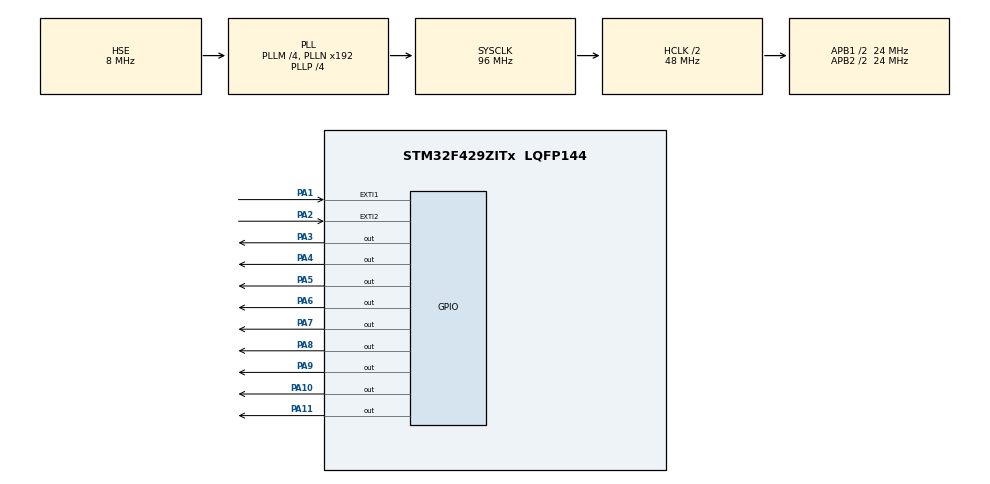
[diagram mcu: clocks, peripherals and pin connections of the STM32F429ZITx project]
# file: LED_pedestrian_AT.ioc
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Mcu.Family=STM32F4
Mcu.Name=STM32F429ZITx
Mcu.Package=LQFP144
NVIC.EXTI1_IRQn=true\:0\:0\:false\:true\:true\:2\:true\:true
NVIC.EXTI2_IRQn=true\:0\:0\:true\:true\:true\:4\:true\:true
NVIC.PriorityGroup=NVIC_PRIORITYGROUP_4
NVIC.TIM3_IRQn=true\:2\:0\:true\:true\:true\:1\:true\:true
NVIC.TIM4_IRQn=true\:1\:0\:true\:true\:true\:3\:true\:true
PA1.Signal=GPXTI1
PA10.GPIO_ModeDefaultOutputPP=GPIO_MODE_OUTPUT_PP
PA10.GPIO_PuPd=GPIO_NOPULL
PA10.GPIO_Speed=GPIO_SPEED_FREQ_LOW
PA10.PinState=GPIO_PIN_RESET
PA10.Signal=GPIO_Output
PA11.GPIO_Speed=GPIO_SPEED_FREQ_LOW
PA11.PinState=GPIO_PIN_RESET
PA11.Signal=GPIO_Output
PA13.Mode=Serial_Wire
PA13.Signal=SYS_JTMS-SWDIO
PA14.Mode=Serial_Wire
PA14.Signal=SYS_JTCK-SWCLK
PA2.GPIO_ModeDefaultEXTI=GPIO_MODE_IT_RISING
PA2.Signal=GPXTI2
PA3.GPIO_ModeDefaultOutputPP=GPIO_MODE_OUTPUT_PP
PA3.GPIO_PuPd=GPIO_NOPULL
PA3.GPIO_Speed=GPIO_SPEED_FREQ_LOW
PA3.PinState=GPIO_PIN_RESET
PA3.Signal=GPIO_Output
PA4.GPIO_ModeDefaultOutputPP=GPIO_MODE_OUTPUT_PP
PA4.GPIO_PuPd=GPIO_NOPULL
PA4.GPIO_Speed=GPIO_SPEED_FREQ_LOW
PA4.PinState=GPIO_PIN_RESET
PA4.Signal=GPIO_Output
PA5.GPIO_ModeDefaultOutputPP=GPIO_MODE_OUTPUT_PP
PA5.GPIO_PuPd=GPIO_NOPULL
PA5.GPIO_Speed=GPIO_SPEED_FREQ_LOW
PA5.PinState=GPIO_PIN_RESET
PA5.Signal=GPIO_Output
PA6.GPIO_ModeDefaultOutputPP=GPIO_MODE_OUTPUT_PP
PA6.GPIO_PuPd=GPIO_NOPULL
PA6.GPIO_Speed=GPIO_SPEED_FREQ_LOW
PA6.PinState=GPIO_PIN_RESET
PA6.Signal=GPIO_Output
PA7.GPIO_ModeDefaultOutputPP=GPIO_MODE_OUTPUT_PP
PA7.GPIO_PuPd=GPIO_NOPULL
PA7.GPIO_Speed=GPIO_SPEED_FREQ_LOW
PA7.PinState=GPIO_PIN_RESET
PA7.Signal=GPIO_Output
PA8.GPIO_ModeDefaultOutputPP=GPIO_MODE_OUTPUT_PP
PA8.GPIO_PuPd=GPIO_NOPULL
PA8.GPIO_Speed=GPIO_SPEED_FREQ_LOW
PA8.PinState=GPIO_PIN_RESET
PA8.Signal=GPIO_Output
PA9.GPIO_ModeDefaultOutputPP=GPIO_MODE_OUTPUT_PP
PA9.GPIO_PuPd=GPIO_NOPULL
PA9.GPIO_Speed=GPIO_SPEED_FREQ_LOW
PA9.PinState=GPIO_PIN_RESET
PA9.Signal=GPIO_Output
PH0/OSC_IN.Mode=HSE-External-Oscillator
PH0/OSC_IN.Signal=RCC_OSC_IN
PH1/OSC_OUT.Mode=HSE-External-Oscillator
PH1/OSC_OUT.Signal=RCC_OSC_OUT
ProjectManager.HeapSize=0x200
ProjectManager.StackSize=0x400
ProjectManager.TargetToolchain=MDK-ARM V5
RCC.48MHZClocksFreq_Value=96000000
RCC.AHBCLKDivider=RCC_SYSCLK_DIV2
RCC.AHBFreq_Value=48000000
RCC.APB1CLKDivider=RCC_HCLK_DIV2
RCC.APB1Freq_Value=24000000
RCC.APB1TimFreq_Value=48000000
RCC.APB2CLKDivider=RCC_HCLK_DIV2
RCC.APB2Freq_Value=24000000
RCC.APB2TimFreq_Value=48000000
RCC.CortexFreq_Value=48000000
RCC.HCLKFreq_Value=48000000
RCC.HSE_VALUE=8000000
RCC.HSI_VALUE=16000000
RCC.LSE_VALUE=32768
RCC.PLLM=4
RCC.PLLP=RCC_PLLP_DIV4
RCC.PLLSourceVirtual=RCC_PLLSOURCE_HSE
RCC.SYSCLKFreq_VALUE=96000000
RCC.SYSCLKSource=RCC_SYSCLKSOURCE_PLLCLK
RCC.VCOOutputFreq_Value=384000000
TIM3.Period=1000
TIM3.Prescaler=48000-1
TIM3.TIM_MasterOutputTrigger=TIM_TRGO_UPDATE
TIM4.Period=101
TIM4.Prescaler=48000-1
TIM4.TIM_MasterOutputTrigger=TIM_TRGO_UPDATE
VP_TIM3_VS_ClockSourceINT.Mode=Internal
VP_TIM4_VS_ClockSourceINT.Mode=Internal
board=custom

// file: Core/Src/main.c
/* USER CODE BEGIN Header */
/**
  ******************************************************************************
  * @file           : main.c
  * @brief          : Main program body
  ******************************************************************************
  * @attention
  *
  * <h2><center>&copy; Copyright (c) 2019 STMicroelectronics.
  * All rights reserved.</center></h2>
  *
  * This software component is licensed by ST under BSD 3-Clause license,
  * the "License"; You may not use this file except in compliance with the
  * License. You may obtain a copy of the License at:
  *                        opensource.org/licenses/BSD-3-Clause
  *
  ******************************************************************************
  */
/* USER CODE END Header */

#include "main.h"
#include "gfxsimulator.h"
#include "tim.h"
#include "gpio.h"

void SystemClock_Config(void);
static void MX_NVIC_Init(void);

/* USER CODE BEGIN 0 */
uint16_t delays[DELAYS_COUNT] = {1000,3000,5000,5000,101,30000}; //Array with a delay values

/*
	Special variable for delay function to execute the transition a5-a4-a3-a6
	volatile specificator tells the program that
	the variable value can be changed in another part of main program (e.g.interrupts)
	but the main cycle will know it
*/
volatile uint16_t walkTime;

volatile States state = a0;	//Current state
States nextState;	  //Next state

//A special checkers for each pushed/unpushed button in system
//
volatile uint8_t isButtonOnPushed;
volatile uint8_t isBtnPushed;
/* USER CODE END 0 */

int main(void)
{

  /* MCU Configuration--------------------------------------------------------*/

  /* Reset of all peripherals, Initializes the Flash interface and the Systick. */
  HAL_Init();

  /* Configure the system clock */
  SystemClock_Config();

  /* Initialize all configured peripherals */
  MX_GPIO_Init();
  MX_TIM3_Init();
  MX_TIM4_Init();
  MX_GFXSIMULATOR_Init();

  /* Initialize interrupts */
  MX_NVIC_Init();
  /* USER CODE BEGIN 2 */
	HAL_TIM_Base_Start_IT(&htim3); //Allow to start the transition function

  /* USER CODE END 2 */

  /* Infinite loop */
  while (1)
  {

    /* USER CODE BEGIN 3 */
		StateTransition(); //The function transition and outputs function working
  }
  /* USER CODE END 3 */
}

void SystemClock_Config(void)
{
  RCC_OscInitTypeDef RCC_OscInitStruct = {0};
  RCC_ClkInitTypeDef RCC_ClkInitStruct = {0};

  /** Configure the main internal regulator output voltage
  */
  __HAL_RCC_PWR_CLK_ENABLE();
  __HAL_PWR_VOLTAGESCALING_CONFIG(PWR_REGULATOR_VOLTAGE_SCALE3);
  /** Initializes the CPU, AHB and APB busses clocks
  */
  RCC_OscInitStruct.OscillatorType = RCC_OSCILLATORTYPE_HSE;
  RCC_OscInitStruct.HSEState = RCC_HSE_ON;
  RCC_OscInitStruct.PLL.PLLState = RCC_PLL_ON;
  RCC_OscInitStruct.PLL.PLLSource = RCC_PLLSOURCE_HSE;
  RCC_OscInitStruct.PLL.PLLM = 4;
  RCC_OscInitStruct.PLL.PLLN = 192;
  RCC_OscInitStruct.PLL.PLLP = RCC_PLLP_DIV4;
  RCC_OscInitStruct.PLL.PLLQ = 4;
  if (HAL_RCC_OscConfig(&RCC_OscInitStruct) != HAL_OK)
  {
    Error_Handler();
  }
  /** Initializes the CPU, AHB and APB busses clocks
  */
  RCC_ClkInitStruct.ClockType = RCC_CLOCKTYPE_HCLK|RCC_CLOCKTYPE_SYSCLK
                              |RCC_CLOCKTYPE_PCLK1|RCC_CLOCKTYPE_PCLK2;
  RCC_ClkInitStruct.SYSCLKSource = RCC_SYSCLKSOURCE_PLLCLK;
  RCC_ClkInitStruct.AHBCLKDivider = RCC_SYSCLK_DIV2;
  RCC_ClkInitStruct.APB1CLKDivider = RCC_HCLK_DIV2;
  RCC_ClkInitStruct.APB2CLKDivider = RCC_HCLK_DIV2;

  if (HAL_RCC_ClockConfig(&RCC_ClkInitStruct, FLASH_LATENCY_1) != HAL_OK)
  {
    Error_Handler();
  }
}

/**
  * @brief NVIC Configuration.
  * @retval None
	* CubeMx generated function for enable all the peripheral events/interrupts in project
  */
static void MX_NVIC_Init(void)
{
  /* TIM3_IRQn interrupt configuration */
  HAL_NVIC_SetPriority(TIM3_IRQn, 2, 0);
  HAL_NVIC_EnableIRQ(TIM3_IRQn);
  /* EXTI1_IRQn interrupt configuration */
  HAL_NVIC_SetPriority(EXTI1_IRQn, 0, 0);
  HAL_NVIC_EnableIRQ(EXTI1_IRQn);
  /* TIM4_IRQn interrupt configuration */
  HAL_NVIC_SetPriority(TIM4_IRQn, 1, 0);
  HAL_NVIC_EnableIRQ(TIM4_IRQn);
  /* EXTI2_IRQn interrupt configuration */
  HAL_NVIC_SetPriority(EXTI2_IRQn, 0, 0);
  HAL_NVIC_EnableIRQ(EXTI2_IRQn);
}

/* USER CODE BEGIN 4 */
void StateTransition()
{
	//Transitions function
	//
		switch(state)
	{
		case a0: 		 /*Block with transition description*/

			if(isButtonOnPushed == 0)	/*BUTTON_ON push/unpush checker*/
			{
				nextState = a0;
			}

			else
			{
				nextState = a1;
			}

		break;

		case a1:

			if(isButtonOnPushed == 0)
			{
				nextState = a0;
			}

			else
			{
				if(isBtnPushed == 0) /*BTN push/unpush checker*/
				{
					nextState = a1;
				}

				else
				{
					nextState = a2;
				}
			}

		break;

		case a2:
				nextState = a3;
		break;

		case a3:

				if(walkTime >= delays[T1]*4) /*Check the time in hyper process and select the right next state*/
				{
					nextState = a7;
				}

				else
				{
					nextState = a4;
				}

		break;

		case a4:
				nextState = a5;
		break;

		case a5:
				nextState = a6;
		break;

	  case a6:
			nextState = a3;
		break;

		case a7:
			nextState = a1;
		break;

		default: /*Default transition for insurance from exceptions*/
				nextState = a0;
		break;
	}

	switch(state)				/*Outputs function*/
	{
		case a0:
     isBtnPushed = 0;	/*Hard reset for btn (to avoid the exceptions)*/
     ALL_LEDS_OFF;    /*OFF all the outputs in a model*/
		 BTN_NOT_READY; 	/*Forbid the interrupt handler (btn pushing is forbidden)*/
		break;

		case a1:

		 if(isBtnPushed == 0)
		 {
			BTN_READY; 			/*Allow the interrupt handler (push the btn)*/
			HAL_GPIO_WritePin(LEDS,BTN_LIGHT,ON); /*LED shows that the btn can be pushed*/
		 }
		 else
		 {
			BTN_NOT_READY;
			HAL_GPIO_WritePin(LEDS,BTN_LIGHT,OFF); /*OFF the btn pushing indication*/
		 }

		break;

	  case a2:

		 //Output delay that allows to operate with a red light and lighter at the certain time
		 //ON the red light and the lighter when the state time between 5 and 10 seconds of state
		 //
		 if(__HAL_TIM_GET_COUNTER(&htim3) > delays[T3])
		 {
			isBtnPushed = 0;
			HAL_GPIO_WritePin(LEDS,RED_LIGHT|LIGHTER,ON);
		 }
		break;

		/*Hyper States outputs blocks*/
		case a3:
		 HAL_GPIO_WritePin(LEDS,C1|C6,ON);
		 HAL_GPIO_WritePin(LEDS,C2|C5,OFF);
		 HAL_GPIO_WritePin(LEDS,C3|C4,OFF);
		break;

		case a4:
		 HAL_GPIO_WritePin(LEDS,C1|C6,OFF);
		 HAL_GPIO_WritePin(LEDS,C2|C5,ON);
		 HAL_GPIO_WritePin(LEDS,C3|C4,OFF);
		break;

		case a5:
		 HAL_GPIO_WritePin(LEDS,C1|C6,OFF);
		 HAL_GPIO_WritePin(LEDS,C2|C5,OFF);
		 HAL_GPIO_WritePin(LEDS,C3|C4,ON);
		break;

		case a6:
		 HAL_GPIO_WritePin(LEDS,C1|C6,OFF);
		 HAL_GPIO_WritePin(LEDS,C2|C5,ON);
		 HAL_GPIO_WritePin(LEDS,C3|C4,OFF);
		break;
	 /*END Hyper States outputs blocks*/

		case a7:

			HAL_GPIO_WritePin(LEDS,C1|C6,OFF);

			if(__HAL_TIM_GET_COUNTER(&htim3) > delays[T3])
			{
				HAL_GPIO_WritePin(LEDS,RED_LIGHT|LIGHTER,OFF);

				//COPY of a1 state that shows the ability to push the btn in a constraint time to the next state transition
				//
				if(isBtnPushed == 0)
				{
					BTN_READY;
					HAL_GPIO_WritePin(LEDS,BTN_LIGHT,ON);
				}
				else
				{
					BTN_NOT_READY;
					HAL_GPIO_WritePin(LEDS,BTN_LIGHT,OFF);
				}
			}

		break;

		default: /*The default block for outputs (to avoid the exceptions)*/
     isBtnPushed = 0;
     ALL_LEDS_OFF;
		 BTN_NOT_READY;
		break;
	}
}

void HAL_GPIO_EXTI_Callback(uint16_t GPIO_Pin) //Pushing button interrupt handler(callback)
{
	if(GPIO_Pin == GPIO_PIN_1 || GPIO_Pin == GPIO_PIN_2) //Check the correct pin (btn pin) for insurance
	{
		HAL_TIM_Base_Start_IT(&htim4); //Allow the timer working for buttons
	}
}

void HAL_TIM_PeriodElapsedCallback(TIM_HandleTypeDef *htim) //Timer interrupt handler(callback)
{
	//Delays function
	//
	if(htim->Instance == TIM3)
	{
		HAL_TIM_Base_Stop_IT(&htim3); //Stop the timer and forbid the interrupt (for insurance)

		uint16_t delayMs = 0;					//Variable for keeping the chosen delay

		state = nextState;						//Transition execution

		if(state == a0 || state == a1)
		{
			delayMs = delays[T0];
		}

		else if(state == a2)
		{
			delayMs = delays[T2]+delays[T3];
		}

		else if(state == a3 || state == a4 || state == a5 || state == a6)
		{
			delayMs = delays[T1];
			walkTime += delays[T1];
		}

		else if(state == a7)
		{
			delayMs = delays[T3]+delays[Tc];
			walkTime = 0;
		}

		else //for insurance to avoid the  exceptions
		{
			delayMs = delays[T0];
		}

		__HAL_TIM_SET_AUTORELOAD(&htim3, delayMs); //Reload the necessary timeout to the timer register

		//The correct way in interrupt handling
		//is the stop and start the timer again (including interrupt handling)
		//
		HAL_TIM_Base_Start_IT(&htim3);
	}

	//Interrupt handler for BUTTON_ON and BTN
	//
	else if(htim->Instance == TIM4)
	{
		if(BUTTON_ON == ON)
		{
			isButtonOnPushed = !isButtonOnPushed; //Change the value of pushing (like a toggle)
		}
		else if (BTN == ON)
		{
			isBtnPushed = 1;
		}
		else
		{
			isButtonOnPushed = 0;
			isBtnPushed = 0;
		}

		HAL_TIM_Base_Stop_IT(&htim4); //Stop the timer work for buttons
	}
}
/* USER CODE END 4 */

void Error_Handler(void)
{
}

/************************ (C) COPYRIGHT STMicroelectronics *****END OF FILE****/
